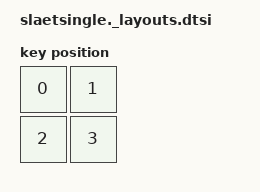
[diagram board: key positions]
#include <physical_layouts.dtsi>

/ {
    direct_physical_layout: direct_physical_layout {
        compatible = "zmk,physical-layout";
        display-name = "Direct Wire Layout";

        keys
            = <&key_physical_attrs 100 100 0   0 0 0 0>
            , <&key_physical_attrs 100 100 100 0 0 0 0>
            , <&key_physical_attrs 100 100 0   100 0 0 0>
            , <&key_physical_attrs 100 100 100 100 0 0 0>
            ;
    };
};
